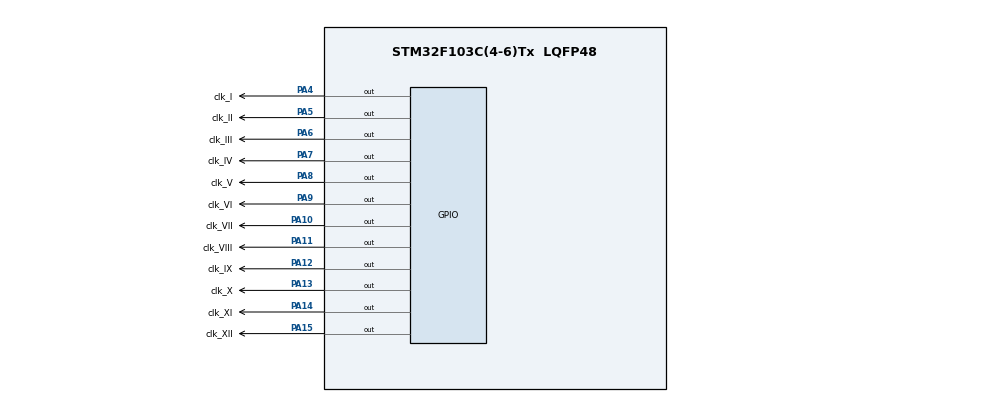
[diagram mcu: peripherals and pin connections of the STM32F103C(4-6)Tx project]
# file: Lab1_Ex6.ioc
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Mcu.Family=STM32F1
Mcu.Name=STM32F103C(4-6)Tx
Mcu.Package=LQFP48
NVIC.PriorityGroup=NVIC_PRIORITYGROUP_4
PA10.GPIO_Label=clk_VII
PA10.Signal=GPIO_Output
PA11.GPIO_Label=clk_VIII
PA11.Signal=GPIO_Output
PA12.GPIO_Label=clk_IX
PA12.Signal=GPIO_Output
PA13.GPIO_Label=clk_X
PA13.Signal=GPIO_Output
PA14.GPIO_Label=clk_XI
PA14.Signal=GPIO_Output
PA15.GPIO_Label=clk_XII
PA15.Signal=GPIO_Output
PA4.GPIO_Label=clk_I
PA4.Signal=GPIO_Output
PA5.GPIO_Label=clk_II
PA5.Signal=GPIO_Output
PA6.GPIO_Label=clk_III
PA6.Signal=GPIO_Output
PA7.GPIO_Label=clk_IV
PA7.Signal=GPIO_Output
PA8.GPIO_Label=clk_V
PA8.Signal=GPIO_Output
PA9.GPIO_Label=clk_VI
PA9.Signal=GPIO_Output
ProjectManager.HeapSize=0x200
ProjectManager.StackSize=0x400
ProjectManager.TargetToolchain=STM32CubeIDE
RCC.APB1Freq_Value=8000000
RCC.APB2Freq_Value=8000000
VP_SYS_VS_ND.Mode=No_Debug
board=custom

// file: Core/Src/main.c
/* USER CODE BEGIN Header */
/**
  ******************************************************************************
  * @file           : main.c
  * @brief          : Main program body
  ******************************************************************************
  * @attention
  *
  * <h2><center>&copy; Copyright (c) 2022 STMicroelectronics.
  * All rights reserved.</center></h2>
  *
  * This software component is licensed by ST under BSD 3-Clause license,
  * the "License"; You may not use this file except in compliance with the
  * License. You may obtain a copy of the License at:
  *                        opensource.org/licenses/BSD-3-Clause
  *
  ******************************************************************************
  */
/* USER CODE END Header */
#include "main.h"

void SystemClock_Config(void);
static void MX_GPIO_Init(void);
/* USER CODE BEGIN PFP */

void clearAllClock()
void setNumberOnClock(int num);
void clearNumberOnClock(int num);

/* USER CODE END PFP */

int main(void)
{

  /* MCU Configuration--------------------------------------------------------*/

  /* Reset of all peripherals, Initializes the Flash interface and the Systick. */
  HAL_Init();

  /* Configure the system clock */
  SystemClock_Config();

  /* Initialize all configured peripherals */
  MX_GPIO_Init();

  /* Infinite loop */
  /* USER CODE BEGIN WHILE */
  while (1)
  {
	  HAL_GPIO_TogglePin(clk_XII_GPIO_Port, clk_XII_Pin);
	  HAL_Delay(1000);
	  HAL_GPIO_TogglePin(clk_I_GPIO_Port, clk_I_Pin);
	  HAL_Delay(1000);
	  HAL_GPIO_TogglePin(clk_II_GPIO_Port, clk_II_Pin);
	  HAL_Delay(1000);
	  HAL_GPIO_TogglePin(clk_III_GPIO_Port, clk_III_Pin);
	  HAL_Delay(1000);
	  HAL_GPIO_TogglePin(clk_IV_GPIO_Port, clk_IV_Pin);
	  HAL_Delay(1000);
	  HAL_GPIO_TogglePin(clk_V_GPIO_Port, clk_V_Pin);
	  HAL_Delay(1000);
	  HAL_GPIO_TogglePin(clk_VI_GPIO_Port, clk_VI_Pin);
	  HAL_Delay(1000);
	  HAL_GPIO_TogglePin(clk_VII_GPIO_Port, clk_VII_Pin);
	  HAL_Delay(1000);
	  HAL_GPIO_TogglePin(clk_VIII_GPIO_Port, clk_VIII_Pin);
	  HAL_Delay(1000);
	  HAL_GPIO_TogglePin(clk_IX_GPIO_Port, clk_IX_Pin);
	  HAL_Delay(1000);
	  HAL_GPIO_TogglePin(clk_X_GPIO_Port, clk_X_Pin);
	  HAL_Delay(1000);
	  HAL_GPIO_TogglePin(clk_XI_GPIO_Port, clk_XI_Pin);
	  HAL_Delay(1000);
    /* USER CODE END WHILE */

  }
}

void SystemClock_Config(void)
{
  RCC_OscInitTypeDef RCC_OscInitStruct = {0};
  RCC_ClkInitTypeDef RCC_ClkInitStruct = {0};

  /** Initializes the RCC Oscillators according to the specified parameters
  * in the RCC_OscInitTypeDef structure.
  */
  RCC_OscInitStruct.OscillatorType = RCC_OSCILLATORTYPE_HSI;
  RCC_OscInitStruct.HSIState = RCC_HSI_ON;
  RCC_OscInitStruct.HSICalibrationValue = RCC_HSICALIBRATION_DEFAULT;
  RCC_OscInitStruct.PLL.PLLState = RCC_PLL_NONE;
  if (HAL_RCC_OscConfig(&RCC_OscInitStruct) != HAL_OK)
  {
    Error_Handler();
  }
  /** Initializes the CPU, AHB and APB buses clocks
  */
  RCC_ClkInitStruct.ClockType = RCC_CLOCKTYPE_HCLK|RCC_CLOCKTYPE_SYSCLK
                              |RCC_CLOCKTYPE_PCLK1|RCC_CLOCKTYPE_PCLK2;
  RCC_ClkInitStruct.SYSCLKSource = RCC_SYSCLKSOURCE_HSI;
  RCC_ClkInitStruct.AHBCLKDivider = RCC_SYSCLK_DIV1;
  RCC_ClkInitStruct.APB1CLKDivider = RCC_HCLK_DIV1;
  RCC_ClkInitStruct.APB2CLKDivider = RCC_HCLK_DIV1;

  if (HAL_RCC_ClockConfig(&RCC_ClkInitStruct, FLASH_LATENCY_0) != HAL_OK)
  {
    Error_Handler();
  }
}

static void MX_GPIO_Init(void)
{
  GPIO_InitTypeDef GPIO_InitStruct = {0};

  /* GPIO Ports Clock Enable */
  __HAL_RCC_GPIOA_CLK_ENABLE();

  /*Configure GPIO pin Output Level */
  HAL_GPIO_WritePin(GPIOA, clk_I_Pin|clk_II_Pin|clk_III_Pin|clk_IV_Pin
                          |clk_V_Pin|clk_VI_Pin|clk_VII_Pin|clk_VIII_Pin
                          |clk_IX_Pin|clk_X_Pin|clk_XI_Pin|clk_XII_Pin, GPIO_PIN_RESET);

  /*Configure GPIO pins : clk_I_Pin clk_II_Pin clk_III_Pin clk_IV_Pin
                           clk_V_Pin clk_VI_Pin clk_VII_Pin clk_VIII_Pin
                           clk_IX_Pin clk_X_Pin clk_XI_Pin clk_XII_Pin */
  GPIO_InitStruct.Pin = clk_I_Pin|clk_II_Pin|clk_III_Pin|clk_IV_Pin
                          |clk_V_Pin|clk_VI_Pin|clk_VII_Pin|clk_VIII_Pin
                          |clk_IX_Pin|clk_X_Pin|clk_XI_Pin|clk_XII_Pin;
  GPIO_InitStruct.Mode = GPIO_MODE_OUTPUT_PP;
  GPIO_InitStruct.Pull = GPIO_NOPULL;
  GPIO_InitStruct.Speed = GPIO_SPEED_FREQ_LOW;
  HAL_GPIO_Init(GPIOA, &GPIO_InitStruct);

}

/* USER CODE BEGIN 4 */

void clearAllClock()
{
	HAL_GPIO_WritePin(clk_I_GPIO_Port, clk_I_Pin, RESET);
	HAL_GPIO_WritePin(clk_II_GPIO_Port, clk_II_Pin, RESET);
	HAL_GPIO_WritePin(clk_III_GPIO_Port, clk_III_Pin, RESET);
	HAL_GPIO_WritePin(clk_IV_GPIO_Port, clk_IV_Pin, RESET);
	HAL_GPIO_WritePin(clk_V_GPIO_Port, clk_V_Pin, RESET);
	HAL_GPIO_WritePin(clk_VI_GPIO_Port, clk_VI_Pin, RESET);
	HAL_GPIO_WritePin(clk_VII_GPIO_Port, clk_VII_Pin, RESET);
	HAL_GPIO_WritePin(clk_VIII_GPIO_Port, clk_VIII_Pin, RESET);
	HAL_GPIO_WritePin(clk_IX_GPIO_Port, clk_IX_Pin, RESET);
	HAL_GPIO_WritePin(clk_X_GPIO_Port, clk_X_Pin, RESET);
	HAL_GPIO_WritePin(clk_XI_GPIO_Port, clk_XI_Pin, RESET);
	HAL_GPIO_WritePin(clk_XII_GPIO_Port, clk_XII_Pin, RESET);
}

void setNumberOnClock(int num)
{
	if(num == 0)
	{
		num = 12;
	}
	switch (num) {
		case 1:
			HAL_GPIO_WritePin(clk_I_GPIO_Port, clk_I_Pin, SET);
			break;
		case 2:
			HAL_GPIO_WritePin(clk_II_GPIO_Port, clk_II_Pin, SET);
			break;
		case 3:
			HAL_GPIO_WritePin(clk_III_GPIO_Port, clk_III_Pin, SET);
			break;
		case 4:
			HAL_GPIO_WritePin(clk_IV_GPIO_Port, clk_IV_Pin, SET);
			break;
		case 5:
			HAL_GPIO_WritePin(clk_V_GPIO_Port, clk_V_Pin, SET);
			break;
		case 6:
			HAL_GPIO_WritePin(clk_VI_GPIO_Port, clk_VI_Pin, SET);
			break;
		case 7:
			HAL_GPIO_WritePin(clk_VII_GPIO_Port, clk_VII_Pin, SET);
			break;
		case 8:
			HAL_GPIO_WritePin(clk_VIII_GPIO_Port, clk_VIII_Pin, SET);
			break;
		case 9:
			HAL_GPIO_WritePin(clk_IX_GPIO_Port, clk_IX_Pin, SET);
			break;
		case 10:
			HAL_GPIO_WritePin(clk_X_GPIO_Port, clk_X_Pin, SET);
			break;
		case 11:
			HAL_GPIO_WritePin(clk_XI_GPIO_Port, clk_XI_Pin, SET);
			break;
		case 12:
			HAL_GPIO_WritePin(clk_XII_GPIO_Port, clk_XII_Pin, SET);
			break;
		default:
			break;
	}
}

void clearNumberOnClock(int num)
{
	if(num == 0)
	{
		num = 12;
	}
	switch (num) {
		case 1:
			HAL_GPIO_WritePin(clk_I_GPIO_Port, clk_I_Pin, RESET);
			break;
		case 2:
			HAL_GPIO_WritePin(clk_II_GPIO_Port, clk_II_Pin, RESET);
			break;
		case 3:
			HAL_GPIO_WritePin(clk_III_GPIO_Port, clk_III_Pin, RESET);
			break;
		case 4:
			HAL_GPIO_WritePin(clk_IV_GPIO_Port, clk_IV_Pin, RESET);
			break;
		case 5:
			HAL_GPIO_WritePin(clk_V_GPIO_Port, clk_V_Pin, RESET);
			break;
		case 6:
			HAL_GPIO_WritePin(clk_VI_GPIO_Port, clk_VI_Pin, RESET);
			break;
		case 7:
			HAL_GPIO_WritePin(clk_VII_GPIO_Port, clk_VII_Pin, RESET);
			break;
		case 8:
			HAL_GPIO_WritePin(clk_VIII_GPIO_Port, clk_VIII_Pin, RESET);
			break;
		case 9:
			HAL_GPIO_WritePin(clk_IX_GPIO_Port, clk_IX_Pin, RESET);
			break;
		case 10:
			HAL_GPIO_WritePin(clk_X_GPIO_Port, clk_X_Pin, RESET);
			break;
		case 11:
			HAL_GPIO_WritePin(clk_XI_GPIO_Port, clk_XI_Pin, RESET);
			break;
		case 12:
			HAL_GPIO_WritePin(clk_XII_GPIO_Port, clk_XII_Pin, RESET);
			break;
		default:
			break;
	}

}

/* USER CODE END 4 */

void Error_Handler(void)
{
  __disable_irq();
  while (1)
  {
  }
}

/************************ (C) COPYRIGHT STMicroelectronics *****END OF FILE****/
